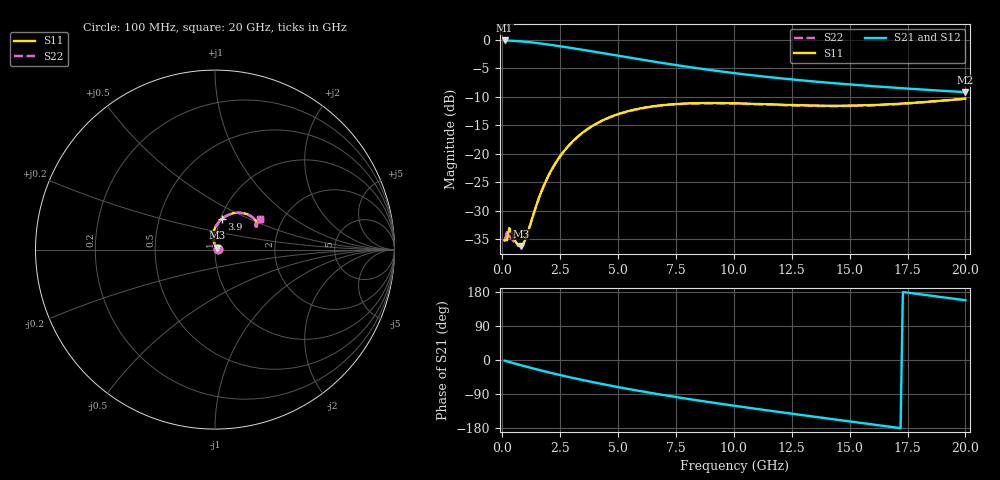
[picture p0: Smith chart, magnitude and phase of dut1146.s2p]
! Touchstone file exported from HFSS 2024.1.0
!  File:  C:/UserFiles/LocalFiles/RDL_TSV_Batchsim/temp_RDL_TSV_1146_1780115881.aedt
!  Generated:  12:53:02 PM May 30, 2026
!  Design:  RDL_TSV
!  Project:  temp_RDL_TSV_1146_1780115881
!  Setup:  Setup1
!  Solution:  Sweep
! Variables:
!  dtsv = 8.16um
!  hbump = 3um
!  htsv = 82.31um
!  ldown = 572.41um
!  lrdl = 270.79um
!  p = 40
!  p1 = 51.82um
!  rhole = 10um
!  subl = 2800.39um
!  t = 450um
!  tdown = 2.02um
!  trdl = 3.85um
!  viad = 10um
!  wdown = 26.71um
!  wrdl = 19.3um
!  xbump = 18um
# GHz S MA R 50.000000
! Terminal data exported
! Port[1] = TM1_1_T1
! Port[2] = TM1_4_T1
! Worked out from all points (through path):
!   200 points, 100 MHz to 20 GHz, reference 50 ohm
!   highest |S21| = -0.16 dB at 100 MHz (marker M1); lowest = -9.2 dB at 20 GHz (marker M2)
!   group delay of S21, straight-line fit = 26.5 ps
!   lowest |S11| = -36.2 dB at 800 MHz (marker M3), VSWR 1.03, Z = 51.1 + j1.13 ohm
!   |S11| at or under -10 dB: start of sweep to end of sweep
!   |S22| runs from -36.2 to -10.4 dB; largest |S21 - S12| = 1e-14
!   S11 on the Smith chart (normalised r, x): 100 MHz: 1.04, +0.00; 3.9 GHz: 1.02, +0.36; 20 GHz: 1.53, +0.58
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0.1  0.01743 6.0  0.9823 -1.8  0.9823 -1.8  0.01743 6.0
! Gamma 0 0 0 0
! Port Impedance 50 0 50 0
0.2  0.0175 15.9  0.981 -3.5  0.981 -3.5  0.02064 0.4
0.3  0.02232 20.3  0.9791 -5.3  0.9791 -5.3  0.01909 7.0
0.6  0.01666 24.0  0.9712 -10.4  0.9712 -10.4  0.01614 25.7
0.8  0.01554 45.3  0.9645 -13.7  0.9645 -13.7  0.01551 46.5
0.9  0.0162 57.5  0.9606 -15.4  0.9606 -15.4  0.01626 58.2
1  0.01782 68.8  0.9565 -17.0  0.9565 -17.0  0.01792 69.2
1.6  0.04188 98.0  0.9269 -26.5  0.9269 -26.5  0.04183 97.8
1.8  0.05288 99.2  0.9157 -29.6  0.9157 -29.6  0.05277 99.1
2.1  0.07061 98.4  0.8981 -34.0  0.8981 -34.0  0.07043 98.2
2.7  0.1077 92.5  0.8614 -42.5  0.8614 -42.5  0.1074 92.4
3.5  0.1548 82.4  0.8116 -53.2  0.8116 -53.2  0.1542 82.3
3.9  0.1758 77.3  0.7871 -58.3  0.7871 -58.3  0.1751 77.2
5.2  0.2289 62.6  0.711 -73.7  0.711 -73.7  0.2279 62.5
6.8  0.2647 48.6  0.629 -90.8  0.629 -90.8  0.2634 48.5
8.4  0.2773 38.9  0.5621 -106.3  0.5621 -106.3  0.2757 38.8
10.1  0.2764 32.5  0.5061 -121.5  0.5061 -121.5  0.2745 32.4
11.7  0.2701 29.6  0.465 -135.0  0.465 -135.0  0.268 29.6
13.4  0.2643 29.1  0.4306 -149.1  0.4306 -149.1  0.2621 29.2
15  0.2639 30.4  0.4046 -162.1  0.4046 -162.1  0.2617 30.6
16.7  0.2711 32.4  0.3817 -175.8  0.3817 -175.8  0.2691 32.7
20  0.3038 34.5  0.3462 157.7  0.3462 157.7  0.3024 34.9
